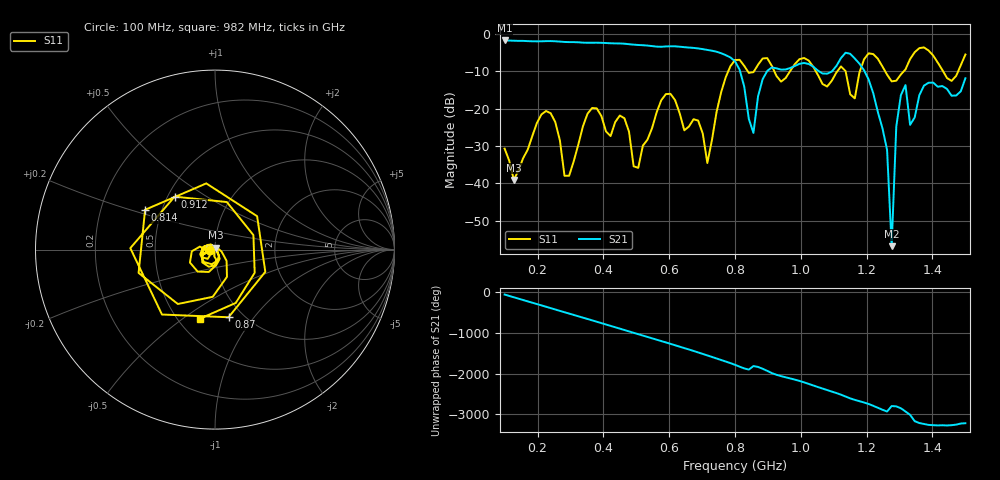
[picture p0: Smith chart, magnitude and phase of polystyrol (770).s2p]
! NanoVNA-App
! Date: 2025-09-25 15:35:52
! Start: 100MHz Stop: 1,5GHz Points: 101
! S-Parameter data: F S11 S21 S12 S22
# Hz S RI R 50
!  Frequency  S11_Real  S11_Imag  S21_Real  S21_Imag  S12_Real  S12_Imag  S22_Real  S22_Imag
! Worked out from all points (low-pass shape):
!   101 points, 100 MHz to 1.5 GHz, reference 50 ohm
!   highest |S21| = -1.80 dB at 100 MHz (marker M1); lowest = -56.8 dB at 1.276 GHz (marker M2)
!   |S21| within 3 dB of the highest: start of sweep to 743.2 MHz
!   lowest |S11| = -39.1 dB at 128 MHz (marker M3), VSWR 1.02, Z = 50.3 + j1.06 ohm
!   |S11| at or under -10 dB: start of sweep to 779.7 MHz; 1.045 GHz to 1.111 GHz (65.93 MHz wide, 6.11 % of centre); 1.256 GHz to 1.313 GHz (57.24 MHz wide, 4.46 % of centre) (the widest 3 of 7)
!   S12 and S22 are empty: the file has one direction only
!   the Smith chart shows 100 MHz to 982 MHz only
!   S11 on the Smith chart (normalised r, x): 100 MHz: 0.94, -0.01; 814 MHz: 0.40, +0.22; 870 MHz: 0.85, -0.76; 912 MHz: 0.54, +0.37; 982 MHz: 0.64, -0.58
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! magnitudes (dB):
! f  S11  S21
! 100 MHz  -30.7  -1.8
! 128 MHz  -39.1  -1.9
! 212 MHz  -21.6  -2.0
! 282 MHz  -38.0  -2.2
! 338 MHz  -24.7  -2.4
! 506 MHz  -35.9  -3.0
! 576 MHz  -17.8  -3.5
! 716 MHz  -34.6  -4.3
! 800 MHz  -7.0  -7.3
! 814 MHz  -7.0  -9.6
! 856 MHz  -10.3  -26.5
! 870 MHz  -8.3  -16.7
! 912 MHz  -8.6  -9.0
! 982 MHz  -8.1  -8.6
! 1.038 GHz  -8.9  -8.8
! 1.164 GHz  -17.3  -6.6
! 1.206 GHz  -5.2  -12.2
! 1.262 GHz  -10.9  -31.0
! 1.276 GHz  -12.7  -56.8
! 1.29 GHz  -12.6  -24.8
! 1.304 GHz  -10.9  -16.4
! 1.5 GHz  -5.6  -11.9
